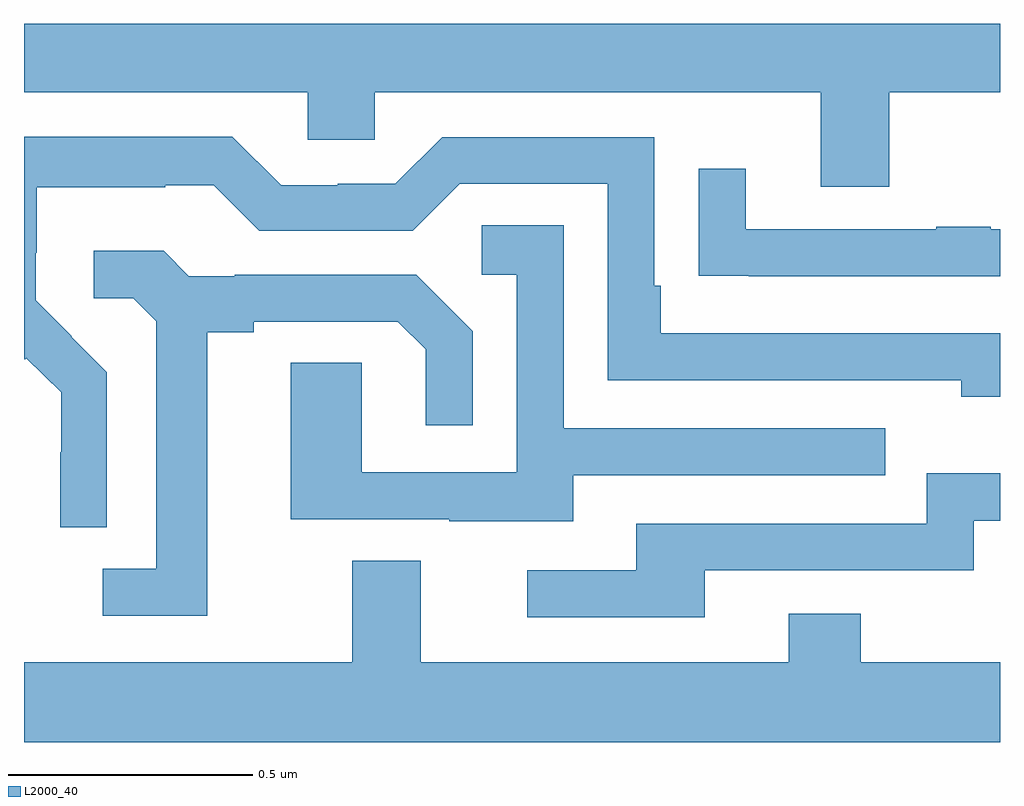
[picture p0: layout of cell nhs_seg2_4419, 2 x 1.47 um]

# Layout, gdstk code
import gdstk
lib = gdstk.Library(unit=1e-6, precision=1e-09)
def P(c, l, *ps):  # polygons
    for p in ps: c.add(gdstk.Polygon(p, *l))
L2000_40 = (2000, 40)

nhs_seg2_4419 = lib.new_cell('nhs_seg2_4419')
P(nhs_seg2_4419, L2000_40, [(167.773,623.66),(168,623.66),(168,623.8),(166,623.8),(166,623.66),(166.581,623.66),(166.581,623.562),(166.719,623.562),(166.719,623.66),(167.633,623.66),(167.633,623.466),(167.773,623.466)],
  [(166.17,623.086),(166.097,623.159),(166.098,623.16),(166.024,623.234),(166.024,623.331),(166.026,623.331),(166.026,623.465),(166.289,623.465),(166.289,623.469),(166.389,623.469),(166.482,623.376),(166.797,623.376),(166.893,623.472),(167.196,623.472),(167.196,623.07),(167.921,623.07),(167.921,623.036),(168,623.036),(168,623.166),(167.305,623.166),(167.305,623.263),(167.292,623.263),(167.292,623.568),(166.857,623.568),(166.761,623.472),(166.643,623.472),(166.643,623.469),(166.527,623.469),(166.427,623.569),(166,623.569),(166,623.114),(166.002,623.112),(166.005,623.115),(166.076,623.045),(166.076,622.922),(166.074,622.922),(166.074,622.768),(166.17,622.768)],
  [(168,623.379),(167.981,623.379),(167.981,623.384),(167.869,623.384),(167.869,623.379),(167.479,623.379),(167.479,623.503),(167.383,623.503),(167.383,623.284),(167.485,623.284),(167.485,623.283),(168,623.283)],
  [(167.125,622.875),(167.765,622.875),(167.765,622.971),(167.106,622.971),(167.106,623.387),(166.938,623.387),(166.938,623.286),(167.01,623.286),(167.01,622.881),(166.692,622.881),(166.692,623.105),(166.547,623.105),(166.547,622.785),(166.871,622.785),(166.871,622.781),(167.125,622.781)],
  [(166.375,623.168),(166.471,623.168),(166.471,623.19),(166.766,623.19),(166.823,623.133),(166.823,622.977),(166.92,622.977),(166.92,623.17),(166.804,623.286),(166.432,623.286),(166.432,623.283),(166.338,623.283),(166.286,623.335),(166.143,623.335),(166.143,623.238),(166.224,623.238),(166.271,623.191),(166.271,622.683),(166.161,622.683),(166.161,622.587),(166.375,622.587)],
  [(167.395,622.68),(167.946,622.68),(167.946,622.782),(168,622.782),(168,622.879),(167.85,622.879),(167.85,622.776),(167.255,622.776),(167.255,622.68),(167.031,622.68),(167.031,622.584),(167.395,622.584)],
  [(168,622.492),(167.715,622.492),(167.715,622.591),(167.567,622.591),(167.567,622.492),(166.813,622.492),(166.813,622.7),(166.673,622.7),(166.673,622.492),(166,622.492),(166,622.328),(168,622.328)])

lib.write_gds('nhs_seg2_4419.gds')
